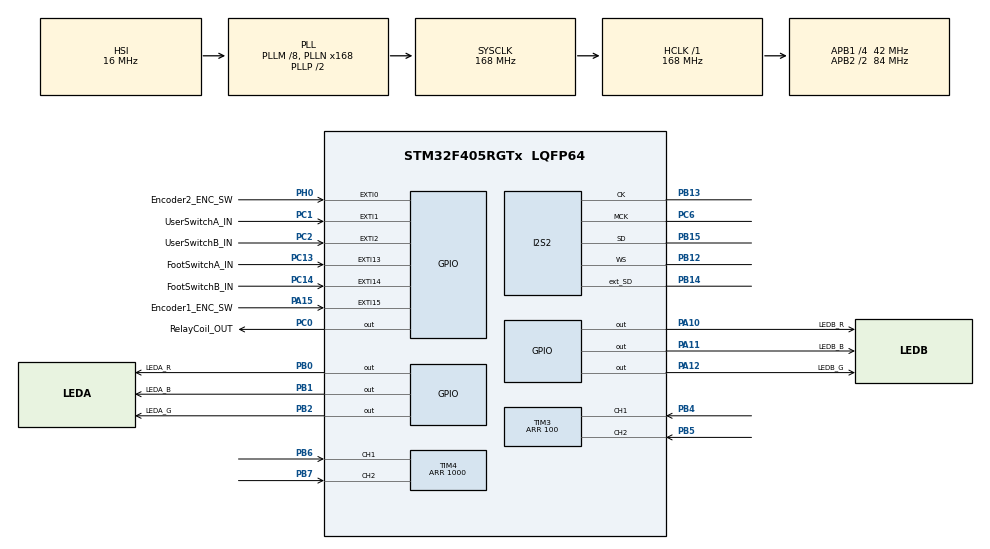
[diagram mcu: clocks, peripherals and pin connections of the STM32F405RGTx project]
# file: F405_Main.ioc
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Dma.I2S2_EXT_RX.0.Direction=DMA_PERIPH_TO_MEMORY
Dma.I2S2_EXT_RX.0.FIFOMode=DMA_FIFOMODE_DISABLE
Dma.I2S2_EXT_RX.0.Instance=DMA1_Stream3
Dma.I2S2_EXT_RX.0.MemDataAlignment=DMA_MDATAALIGN_HALFWORD
Dma.I2S2_EXT_RX.0.MemInc=DMA_MINC_ENABLE
Dma.I2S2_EXT_RX.0.Mode=DMA_CIRCULAR
Dma.I2S2_EXT_RX.0.PeriphDataAlignment=DMA_PDATAALIGN_HALFWORD
Dma.I2S2_EXT_RX.0.PeriphInc=DMA_PINC_DISABLE
Dma.I2S2_EXT_RX.0.Priority=DMA_PRIORITY_VERY_HIGH
Dma.Request0=I2S2_EXT_RX
Dma.Request1=SPI2_TX
Dma.SPI2_TX.1.Direction=DMA_MEMORY_TO_PERIPH
Dma.SPI2_TX.1.FIFOMode=DMA_FIFOMODE_DISABLE
Dma.SPI2_TX.1.Instance=DMA1_Stream4
Dma.SPI2_TX.1.MemDataAlignment=DMA_MDATAALIGN_HALFWORD
Dma.SPI2_TX.1.MemInc=DMA_MINC_ENABLE
Dma.SPI2_TX.1.Mode=DMA_CIRCULAR
Dma.SPI2_TX.1.PeriphDataAlignment=DMA_PDATAALIGN_HALFWORD
Dma.SPI2_TX.1.PeriphInc=DMA_PINC_DISABLE
Dma.SPI2_TX.1.Priority=DMA_PRIORITY_VERY_HIGH
I2S2.AudioFreq=I2S_AUDIOFREQ_48K
I2S2.DataFormat=I2S_DATAFORMAT_24B
I2S2.ErrorAudioFreq=0.15 %
I2S2.FullDuplexMode=I2S_FULLDUPLEXMODE_ENABLE
I2S2.Instance=SPI$Index
I2S2.RealAudioFreq=48.076 KHz
I2S2.VirtualMode=I2S_MODE_MASTER
Mcu.Family=STM32F4
Mcu.Name=STM32F405RGTx
Mcu.Package=LQFP64
NVIC.PriorityGroup=NVIC_PRIORITYGROUP_4
NVIC.TIM1_TRG_COM_TIM11_IRQn=true\:0\:0\:false\:false\:true\:true\:true
NVIC.TIM3_IRQn=true\:0\:0\:false\:false\:true\:true\:true
NVIC.TIM4_IRQn=true\:0\:0\:false\:false\:true\:true\:true
PA10.GPIO_Label=LEDB_R
PA10.GPIO_Speed=GPIO_SPEED_FREQ_VERY_HIGH
PA10.Signal=GPIO_Output
PA11.GPIO_Label=LEDB_B
PA11.GPIO_Speed=GPIO_SPEED_FREQ_VERY_HIGH
PA11.Signal=GPIO_Output
PA12.GPIO_Label=LEDB_G
PA12.GPIO_Speed=GPIO_SPEED_FREQ_VERY_HIGH
PA12.Signal=GPIO_Output
PA13.Mode=Serial_Wire
PA13.Signal=SYS_JTMS-SWDIO
PA14.Mode=Serial_Wire
PA14.Signal=SYS_JTCK-SWCLK
PA15.GPIO_Label=Encoder1_ENC_SW
PA15.GPIO_ModeDefaultEXTI=GPIO_MODE_IT_FALLING
PA15.GPIO_PuPd=GPIO_PULLUP
PA15.Signal=GPXTI15
PB0.GPIO_Label=LEDA_R
PB0.GPIO_Speed=GPIO_SPEED_FREQ_VERY_HIGH
PB0.Signal=GPIO_Output
PB1.GPIO_Label=LEDA_B
PB1.GPIO_Speed=GPIO_SPEED_FREQ_VERY_HIGH
PB1.Signal=GPIO_Output
PB12.GPIO_Speed=GPIO_SPEED_FREQ_VERY_HIGH
PB12.Mode=Full_Duplex_Master
PB12.Signal=I2S2_WS
PB13.GPIO_Speed=GPIO_SPEED_FREQ_VERY_HIGH
PB13.Mode=Full_Duplex_Master
PB13.Signal=I2S2_CK
PB14.GPIO_Speed=GPIO_SPEED_FREQ_VERY_HIGH
PB14.Mode=Full_Duplex_Master
PB14.Signal=I2S2_ext_SD
PB15.GPIO_Speed=GPIO_SPEED_FREQ_VERY_HIGH
PB15.Mode=Full_Duplex_Master
PB15.Signal=I2S2_SD
PB2.GPIO_Label=LEDA_G
PB2.GPIO_Speed=GPIO_SPEED_FREQ_VERY_HIGH
PB2.Signal=GPIO_Output
PB4.Signal=S_TIM3_CH1
PB5.Signal=S_TIM3_CH2
PB6.Signal=S_TIM4_CH1
PB7.Signal=S_TIM4_CH2
PC0.GPIO_Label=RelayCoil_OUT
PC0.GPIO_PuPd=GPIO_NOPULL
PC0.PinState=GPIO_PIN_RESET
PC0.Signal=GPIO_Output
PC1.GPIO_Label=UserSwitchA_IN
PC1.GPIO_ModeDefaultEXTI=GPIO_MODE_IT_RISING_FALLING
PC1.Signal=GPXTI1
PC13-ANTI_TAMP.GPIO_Label=FootSwitchA_IN
PC13-ANTI_TAMP.Signal=GPXTI13
PC14-OSC32_IN.GPIO_Label=FootSwitchB_IN
PC14-OSC32_IN.Signal=GPXTI14
PC2.GPIO_Label=UserSwitchB_IN
PC2.GPIO_ModeDefaultEXTI=GPIO_MODE_IT_RISING_FALLING
PC2.Signal=GPXTI2
PC6.GPIO_Speed=GPIO_SPEED_FREQ_VERY_HIGH
PC6.Mode=Master_Clock_Activated
PC6.Signal=I2S2_MCK
PH0-OSC_IN.GPIO_Label=Encoder2_ENC_SW
PH0-OSC_IN.GPIO_ModeDefaultEXTI=GPIO_MODE_IT_FALLING
PH0-OSC_IN.GPIO_PuPd=GPIO_PULLUP
PH0-OSC_IN.Signal=GPXTI0
ProjectManager.HeapSize=0x200
ProjectManager.StackSize=0x400
ProjectManager.TargetToolchain=STM32CubeIDE
RCC.48MHZClocksFreq_Value=48000000
RCC.AHBFreq_Value=168000000
RCC.APB1CLKDivider=RCC_HCLK_DIV4
RCC.APB1Freq_Value=42000000
RCC.APB1TimFreq_Value=84000000
RCC.APB2CLKDivider=RCC_HCLK_DIV2
RCC.APB2Freq_Value=84000000
RCC.APB2TimFreq_Value=168000000
RCC.CortexFreq_Value=168000000
RCC.HCLKFreq_Value=168000000
RCC.HSE_VALUE=25000000
RCC.HSICalibrationValue=15
RCC.HSI_VALUE=16000000
RCC.LSE_VALUE=32768
RCC.PLLI2SN=160
RCC.PLLM=8
RCC.PLLN=168
RCC.PLLQ=7
RCC.SYSCLKFreq_VALUE=168000000
RCC.SYSCLKSource=RCC_SYSCLKSOURCE_PLLCLK
RCC.VCOOutputFreq_Value=336000000
SH.S_TIM3_CH1.0=TIM3_CH1,Encoder_Interface
SH.S_TIM3_CH2.0=TIM3_CH2,Encoder_Interface
SH.S_TIM4_CH1.0=TIM4_CH1,Encoder_Interface
SH.S_TIM4_CH2.0=TIM4_CH2,Encoder_Interface
TIM11.AutoReloadPreload=TIM_AUTORELOAD_PRELOAD_ENABLE
TIM11.Period=340
TIM14.AutoReloadPreload=TIM_AUTORELOAD_PRELOAD_ENABLE
TIM14.Prescaler=65535
TIM3.AutoReloadPreload=TIM_AUTORELOAD_PRELOAD_ENABLE
TIM3.CounterMode=TIM_COUNTERMODE_CENTERALIGNED3
TIM3.EncoderMode=TIM_ENCODERMODE_TI2
TIM3.Period=100
TIM4.AutoReloadPreload=TIM_AUTORELOAD_PRELOAD_ENABLE
TIM4.CounterMode=TIM_COUNTERMODE_CENTERALIGNED3
TIM4.EncoderMode=TIM_ENCODERMODE_TI2
TIM4.Period=1000
VP_TIM11_VS_ClockSourceINT.Mode=Enable_Timer
VP_TIM11_VS_OPM.Mode=OPM_bit
VP_TIM14_VS_ClockSourceINT.Mode=Enable_Timer
board=custom

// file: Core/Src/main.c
/* USER CODE BEGIN Header */
/**
  ******************************************************************************
  * @file           : main.c
  * @brief          : Main program body
  ******************************************************************************
  * @attention
  *
  * <h2><center>&copy; Copyright (c) 2021 STMicroelectronics.
  * All rights reserved.</center></h2>
  *
  * This software component is licensed by ST under BSD 3-Clause license,
  * the "License"; You may not use this file except in compliance with the
  * License. You may obtain a copy of the License at:
  *                        opensource.org/licenses/BSD-3-Clause
  *
  ******************************************************************************
  */
/* USER CODE END Header */
#include "main.h"
#include "dma.h"
#include "i2s.h"
#include "tim.h"
#include "gpio.h"

/* USER CODE BEGIN Includes */
#include <math.h>
#include "AppMain.hpp"
#include "arm_math.h"
/* USER CODE END Includes */

/* USER CODE BEGIN PV */

	#define BLOCK_SIZE_FLOAT 512
	//#define STEREO_SINGLE_BLK_SIZE_U16 2048

	arm_biquad_casd_df1_inst_f32 left_iir_settings, right_iir_settings;

	//4 delayed samples per biquad
	float iir_left_state [4];
	float iir_right_state [4];

	//IIR low-pass, fs=48kHz, f_cut=1kHz, q=0.707
	float iir_coeffs [5] = {
					0.003916123487156427f,
					0.007832246974312854f,
					0.003916123487156427f,
					1.8153396116625289f,
					-0.8310041056111546
	};

//	uint16_t rxBufBlock[STEREO_SINGLE_BLK_SIZE_U16*2];
//	uint16_t txBufBlock[STEREO_SINGLE_BLK_SIZE_U16*2];
	float left_buf_in [BLOCK_SIZE_FLOAT*2];
	float right_buf_in [BLOCK_SIZE_FLOAT*2];
	float left_buf_out [BLOCK_SIZE_FLOAT*2];
	float right_buf_out [BLOCK_SIZE_FLOAT*2];

	//uint8_t callback_state = 0;

	int offset_read_ptr;
	int offset_write_ptr, write_ptr;
/* USER CODE END PV */

void SystemClock_Config(void);

/* USER CODE BEGIN 0 */

/*
void HAL_I2SEx_TxRxHalfCpltCallback(I2S_HandleTypeDef *hi2s){

	callback_state = 1;

}

void HAL_I2SEx_TxRxCpltCallback(I2S_HandleTypeDef *hi2s){

	callback_state = 2;

}

void do_iir_init()
{
  arm_biquad_cascade_df1_init_f32 ( &left_iir_settings, 1, &iir_coeffs[0], &iir_left_state[0]);
  arm_biquad_cascade_df1_init_f32 ( &right_iir_settings, 1, &iir_coeffs[0], &iir_right_state[0]);

  //int res = testfunc();
  HAL_I2SEx_TransmitReceive_DMA (&hi2s2, txBufBlock, rxBufBlock, STEREO_SINGLE_BLK_SIZE_U16);

}

void do_iir_loop()
{
  if (callback_state != 0) {

	  //decide if it was half or cplt callback
	  if (callback_state == 1)   {
			  offset_read_ptr = 0;
			  offset_write_ptr = 0;
			  write_ptr = 0;
	  }

	  else if (callback_state == 2) {
		  offset_read_ptr = STEREO_SINGLE_BLK_SIZE_U16;
		  offset_write_ptr = BLOCK_SIZE_FLOAT;
		  write_ptr = BLOCK_SIZE_FLOAT;
	  }

	  //restore input sample buffer to float array
	  for (int i=offset_read_ptr; i<offset_read_ptr+STEREO_SINGLE_BLK_SIZE_U16; i=i+4) {
		  left_buf_in[write_ptr] = (float) ((int) (rxBufBlock[i]<<16)|rxBufBlock[i+1]);
		  right_buf_in[write_ptr] = (float) ((int) (rxBufBlock[i+2]<<16)|rxBufBlock[i+3]);
		  write_ptr++;
	  }

	  //process IIR
	  arm_biquad_cascade_df1_f32 (&left_iir_settings, &left_buf_in[offset_write_ptr], &left_buf_out[offset_write_ptr],BLOCK_SIZE_FLOAT);
	  arm_biquad_cascade_df1_f32 (&right_iir_settings, &right_buf_in[offset_write_ptr], &right_buf_out[offset_write_ptr],BLOCK_SIZE_FLOAT);

	  //restore processed float-array to output sample-buffer
	  write_ptr = offset_write_ptr;

	  for (int i=offset_read_ptr; i<offset_read_ptr+STEREO_SINGLE_BLK_SIZE_U16; i=i+4) {
			txBufBlock[i] =  (((int)left_buf_out[write_ptr])>>16)&0xFFFF;
			txBufBlock[i+1] = ((int)left_buf_out[write_ptr])&0xFFFF;
			txBufBlock[i+2] = (((int)left_buf_out[write_ptr])>>16)&0xFFFF;
			txBufBlock[i+3] = ((int)left_buf_out[write_ptr])&0xFFFF;
			write_ptr++;
	  }

	  callback_state = 0;

  }
}

void HAL_I2S_ErrorCallback(I2S_HandleTypeDef *hi2s)
{
	callback_state = 0;
}
*/
/* USER CODE END 0 */

int main(void)
{

  /* MCU Configuration--------------------------------------------------------*/

  /* Reset of all peripherals, Initializes the Flash interface and the Systick. */
  HAL_Init();

  /* Configure the system clock */
  SystemClock_Config();

  /* Initialize all configured peripherals */
  MX_GPIO_Init();
  MX_DMA_Init();
  MX_I2S2_Init();
  MX_TIM3_Init();
  MX_TIM4_Init();
  MX_TIM14_Init();
  MX_TIM11_Init();
  /* USER CODE BEGIN 2 */

  appmain();
  //HAL_GPIO_TogglePin(RelayCoil_OUT_GPIO_Port, RelayCoil_OUT_Pin);

  //do_iir_init();

  /* USER CODE END 2 */

  /* Infinite loop */
  /* USER CODE BEGIN WHILE */
  while (1)
  {
	  //do_iir_loop();

    /* USER CODE END WHILE */

  }
}

void SystemClock_Config(void)
{
  RCC_OscInitTypeDef RCC_OscInitStruct = {0};
  RCC_ClkInitTypeDef RCC_ClkInitStruct = {0};
  RCC_PeriphCLKInitTypeDef PeriphClkInitStruct = {0};

  /** Configure the main internal regulator output voltage
  */
  __HAL_RCC_PWR_CLK_ENABLE();
  __HAL_PWR_VOLTAGESCALING_CONFIG(PWR_REGULATOR_VOLTAGE_SCALE1);
  /** Initializes the RCC Oscillators according to the specified parameters
  * in the RCC_OscInitTypeDef structure.
  */
  RCC_OscInitStruct.OscillatorType = RCC_OSCILLATORTYPE_HSI;
  RCC_OscInitStruct.HSIState = RCC_HSI_ON;
  RCC_OscInitStruct.HSICalibrationValue = 15;
  RCC_OscInitStruct.PLL.PLLState = RCC_PLL_ON;
  RCC_OscInitStruct.PLL.PLLSource = RCC_PLLSOURCE_HSI;
  RCC_OscInitStruct.PLL.PLLM = 8;
  RCC_OscInitStruct.PLL.PLLN = 168;
  RCC_OscInitStruct.PLL.PLLP = RCC_PLLP_DIV2;
  RCC_OscInitStruct.PLL.PLLQ = 7;
  if (HAL_RCC_OscConfig(&RCC_OscInitStruct) != HAL_OK)
  {
    Error_Handler();
  }
  /** Initializes the CPU, AHB and APB buses clocks
  */
  RCC_ClkInitStruct.ClockType = RCC_CLOCKTYPE_HCLK|RCC_CLOCKTYPE_SYSCLK
                              |RCC_CLOCKTYPE_PCLK1|RCC_CLOCKTYPE_PCLK2;
  RCC_ClkInitStruct.SYSCLKSource = RCC_SYSCLKSOURCE_PLLCLK;
  RCC_ClkInitStruct.AHBCLKDivider = RCC_SYSCLK_DIV1;
  RCC_ClkInitStruct.APB1CLKDivider = RCC_HCLK_DIV4;
  RCC_ClkInitStruct.APB2CLKDivider = RCC_HCLK_DIV2;

  if (HAL_RCC_ClockConfig(&RCC_ClkInitStruct, FLASH_LATENCY_5) != HAL_OK)
  {
    Error_Handler();
  }
  PeriphClkInitStruct.PeriphClockSelection = RCC_PERIPHCLK_I2S;
  PeriphClkInitStruct.PLLI2S.PLLI2SN = 160;
  PeriphClkInitStruct.PLLI2S.PLLI2SR = 2;
  if (HAL_RCCEx_PeriphCLKConfig(&PeriphClkInitStruct) != HAL_OK)
  {
    Error_Handler();
  }
}

void Error_Handler(void)
{
  __disable_irq();
  while (1)
  {
  }
}

/************************ (C) COPYRIGHT STMicroelectronics *****END OF FILE****/
